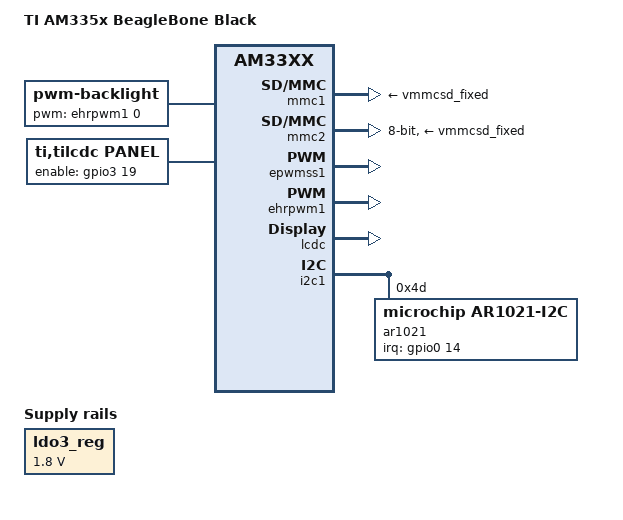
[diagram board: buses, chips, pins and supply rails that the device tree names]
/*
 * Copyright (C) 2020 Jumpnow Technologies, LLC
 *
 * This program is free software; you can redistribute it and/or modify
 * it under the terms of the GNU General Public License version 2 as
 * published by the Free Software Foundation.
 */

/dts-v1/;

#include "am33xx.dtsi"
#include "am335x-bone-common.dtsi"
#include "bbb-i2c1.dtsi"
#include "bbb-i2c2.dtsi"
#include "bbb-uart4.dtsi"


/ {
	model = "TI AM335x BeagleBone Black";
	compatible = "ti,am335x-bone-black", "ti,am33xx";
};

&ldo3_reg {
	regulator-min-microvolt = <1800000>;
	regulator-max-microvolt = <1800000>;
	regulator-always-on;
};

&mmc1 {
	vmmc-supply = <&vmmcsd_fixed>;
};

&mmc2 {
	vmmc-supply = <&vmmcsd_fixed>;
	pinctrl-names = "default";
	pinctrl-0 = <&emmc_pins>;
	bus-width = <8>;
	status = "okay";
};

&am33xx_pinmux {
	lcd_pins: lcd_pins {
		pinctrl-single,pins = <
			0xa0 (PIN_OUTPUT | MUX_MODE0)            /* lcd_data0 */
			0xa4 (PIN_OUTPUT | MUX_MODE0)            /* lcd_data1 */
			0xa8 (PIN_OUTPUT | MUX_MODE0)            /* lcd_data2 */
			0xac (PIN_OUTPUT | MUX_MODE0)            /* lcd_data3 */
			0xb0 (PIN_OUTPUT | MUX_MODE0)            /* lcd_data4 */
			0xb4 (PIN_OUTPUT | MUX_MODE0)            /* lcd_data5 */
			0xb8 (PIN_OUTPUT | MUX_MODE0)            /* lcd_data6 */
			0xbc (PIN_OUTPUT | MUX_MODE0)            /* lcd_data7 */
			0xc0 (PIN_OUTPUT | MUX_MODE0)            /* lcd_data8 */
			0xc4 (PIN_OUTPUT | MUX_MODE0)            /* lcd_data9 */
			0xc8 (PIN_OUTPUT | MUX_MODE0)            /* lcd_data10 */
			0xcc (PIN_OUTPUT | MUX_MODE0)            /* lcd_data11 */
			0xd0 (PIN_OUTPUT | MUX_MODE0)            /* lcd_data12 */
			0xd4 (PIN_OUTPUT | MUX_MODE0)            /* lcd_data13 */
			0xd8 (PIN_OUTPUT | MUX_MODE0)            /* lcd_data14 */
			0xdc (PIN_OUTPUT | MUX_MODE0)            /* lcd_data15 */
			0xe0 (PIN_OUTPUT_PULLDOWN | MUX_MODE0)   /* lcd_vsync */
			0xe4 (PIN_OUTPUT_PULLDOWN | MUX_MODE0)   /* lcd_hsync */
			0xe8 (PIN_OUTPUT_PULLDOWN | MUX_MODE0)   /* lcd_pclk */
			0xec (PIN_OUTPUT_PULLDOWN | MUX_MODE0)   /* lcd_ac_bias_en */
			/* LCD enable */
			0x1a4 (PIN_OUTPUT_PULLUP | MUX_MODE7)    /* P9.27, gpio3_19 */
		>;
	};

	backlight_pin: backlight_pin {
		pinctrl-single,pins = <
			0x48 (PIN_OUTPUT_PULLDOWN | MUX_MODE6)    /* P9.14, gpio1[18]/ehrpwm1A */
		>;
	};

	ar1021_irq_pin: ar1021_irq_pin {
		pinctrl-single,pins = <
			0x180 (PIN_INPUT_PULLUP | MUX_MODE7)    /* P9.26, gpio0[14] */
		>;
	};
};

&epwmss1 {
	status = "okay";
};

&ehrpwm1 {
	pinctrl-names = "default";
	pinctrl-0 = <&backlight_pin>;
	status = "okay";
};

&lcdc {
	status = "okay";
};

&i2c1 {
	ar1021: ar1021@4d {
		#address-cells = <1>;
		#size-cells = <0>;
		compatible = "microchip,ar1021-i2c";
		reg = <0x4d>;
		pinctrl-names = "default";
		pinctrl-0 = <&ar1021_irq_pin>;
		interrupts = <14 2>;
		interrupt-parent = <&gpio0>;
		touchscreen-inverted-y;
	};
};

/ {
	backlight {
		status = "okay";
		compatible = "pwm-backlight";
		pwms = <&ehrpwm1 0 500000 0>;
		brightness-levels = <
			0  1  2  3  4  5  6  7  8  9
			10 11 12 13 14 15 16 17 18 19
			20 21 22 23 24 25 26 27 28 29
			30 31 32 33 34 35 36 37 38 39
			40 41 42 43 44 45 46 47 48 49
			50 51 52 53 54 55 56 57 58 59
			60 61 62 63 64 65 66 67 68 69
			70 71 72 73 74 75 76 77 78 79
			80 81 82 83 84 85 86 87 88 89
			90 91 92 93 94 95 96 97 98 99
			100
		>;
		default-brightness-level = <100>;
	};

	panel {
		#address-cells = <1>;
		#size-cells = <1>;

		status = "okay";
		compatible = "ti,tilcdc,panel";
		pinctrl-names = "default";
		pinctrl-0 = <&lcd_pins>;
		enable-gpios = <&gpio3 19 GPIO_ACTIVE_HIGH>;

		panel-info {
			ac-bias           = <255>;
			ac-bias-intrpt    = <0>;
			dma-burst-sz      = <16>;
			bpp               = <16>;
			fdd               = <0x80>;
			sync-edge         = <0>;
			sync-ctrl         = <1>;
			raster-order      = <0>;
			fifo-th           = <0>;
		};

		display-timings {
			native-mode = <&timing0>;
			timing0: 800x480 {
				clock-frequency = <30000000>;
				hactive = <800>;
				vactive = <480>;
				hfront-porch = <40>;
				hback-porch = <40>;
				hsync-len = <48>;
				vback-porch = <30>;
				vfront-porch = <13>;
				vsync-len = <3>;
				hsync-active = <0>;
				vsync-active = <0>;
				de-active = <1>;
				pixelclk-active = <0>;
			};
		};

		fb {
			compatible = "ti,am33xx-tilcdc";
			reg = <0x4830e000 0x1000>;
			interrupt-parent = <&intc>;
			interrupts = <36>;
			ti,hwmods = "lcdc";
		};
	};
};

&rtc {
	system-power-controller;
};

